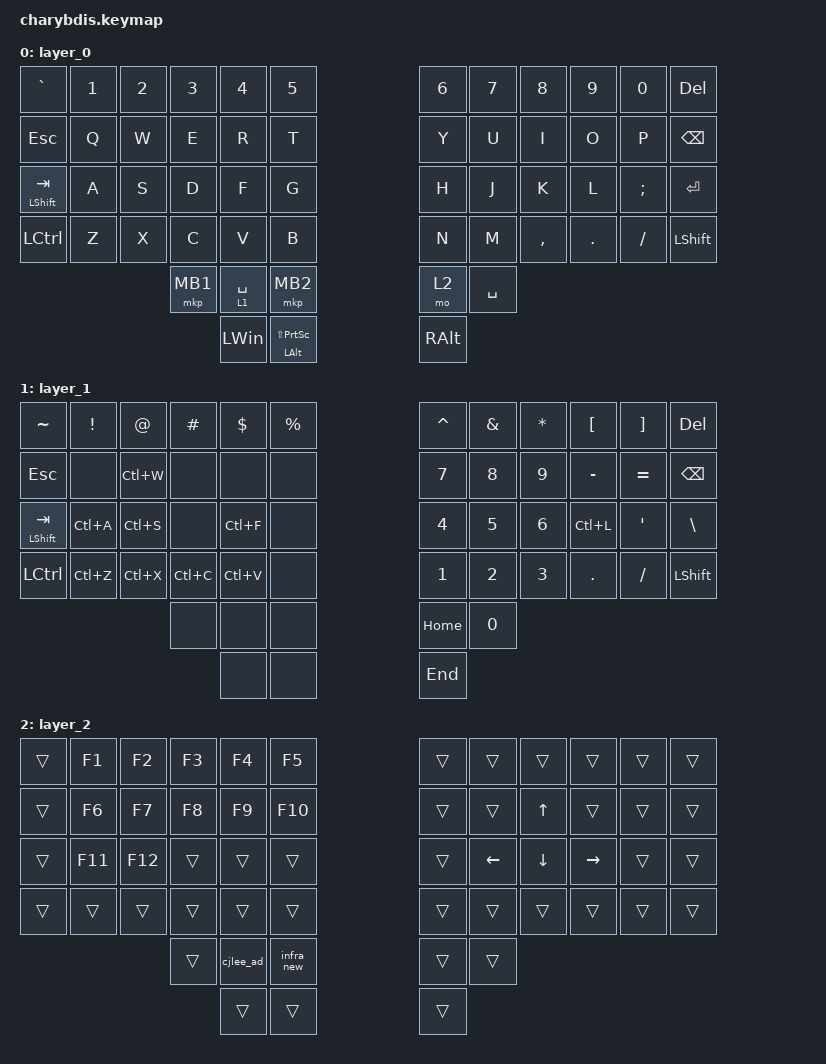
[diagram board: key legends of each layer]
#include <dt-bindings/zmk/mouse.h>
#include <behaviors.dtsi>
#include <dt-bindings/zmk/keys.h>
#include <dt-bindings/zmk/pointing.h>

&lt {
    tapping-term-ms = <200>;
    flavor = "balanced";
    quick-tap-ms = <150>;
};

/ {
    macros {
        infra_new: infra_new {
            compatible = "zmk,behavior-macro";
            #binding-cells = <0>;
            bindings = <&kp C &kp K &kp D &kp W &kp K &kp R &kp LS(R) &kp H &kp X &kp H &kp D &kp N0 &kp N5 &kp POUND &kp RPAR &kp LS(ENTER)>;
            label = "INFRA_NEW";
        };

        cjlee_ad: cjlee_ad {
            compatible = "zmk,behavior-macro";
            #binding-cells = <0>;
            bindings = <&kp Q &kp N &kp F &kp LS(E) &kp K &kp R &kp Q &kp K &kp A &kp N0 &kp N5 &kp POUND &kp RPAR &kp LS(ENTER)>;
            label = "CJLEE_AD";
        };
    };

    keymap {
        compatible = "zmk,keymap";

        layer_0 {
            bindings = <
&kp GRAVE           &kp N1  &kp N2  &kp N3    &kp N4        &kp N5                          &kp N6         &kp N7     &kp N8     &kp N9      &kp N0    &kp DELETE
&kp ESC             &kp Q   &kp W   &kp E     &kp R         &kp T                           &kp Y          &kp U      &kp I      &kp O       &kp P     &kp BACKSPACE
&mt LEFT_SHIFT TAB  &kp A   &kp S   &kp D     &kp F         &kp G                           &kp H          &kp J      &kp K      &kp L       &kp SEMI  &kp ENTER
&kp LCTRL           &kp Z   &kp X   &kp C     &kp V         &kp B                           &kp N          &kp M      &kp COMMA  &kp PERIOD  &kp FSLH  &kp LEFT_SHIFT
                                    &mkp MB1  &lt 1 SPACE   &mkp MB2                        &mo 2          &kp SPACE
                                              &kp LEFT_WIN  &mt LEFT_ALT LS(PRINTSCREEN)    &kp RIGHT_ALT
            >;

            trackball-bindings = <&tmv_coarse>;
        };

        layer_1 {
            bindings = <
&kp TILDE           &kp EXCLAMATION  &kp AT_SIGN  &kp HASH   &kp DOLLAR  &kp PERCENT    &kp CARET  &kp AMPERSAND  &kp ASTERISK  &kp LEFT_BRACKET  &kp RIGHT_BRACKET  &kp DELETE
&kp ESC             &none            &kp LC(W)    &none      &none       &none          &kp N7     &kp N8         &kp N9        &kp MINUS         &kp EQUAL          &kp BACKSPACE
&mt LEFT_SHIFT TAB  &kp LC(A)        &kp LC(S)    &none      &kp LC(F)   &none          &kp N4     &kp N5         &kp N6        &kp LC(L)         &kp SQT            &kp BACKSLASH
&kp LCTRL           &kp LC(Z)        &kp LC(X)    &kp LC(C)  &kp LC(V)   &none          &kp N1     &kp N2         &kp N3        &kp PERIOD        &kp SLASH          &kp LEFT_SHIFT
                                                  &none      &none       &none          &kp HOME   &kp N0
                                                             &none       &none          &kp END
            >;

            trackball-bindings = <&tsl>;
        };

        layer_2 {
            bindings = <
&trans  &kp F1   &kp F2   &kp F3  &kp F4     &kp F5        &trans  &trans    &trans    &trans     &trans  &trans
&trans  &kp F6   &kp F7   &kp F8  &kp F9     &kp F10       &trans  &trans    &kp UP    &trans     &trans  &trans
&trans  &kp F11  &kp F12  &trans  &trans     &trans        &trans  &kp LEFT  &kp DOWN  &kp RIGHT  &trans  &trans
&trans  &trans   &trans   &trans  &trans     &trans        &trans  &trans    &trans    &trans     &trans  &trans
                          &trans  &cjlee_ad  &infra_new    &trans  &trans
                                  &trans     &trans        &trans
            >;
        };

        /* layer_2 {
            bindings = <
&none  &none   &none    &none   &none         &none         &kp N1         &none         &none     &none  &none   &to 0
&none  &none   &none    &none   &none         &none         &none         &none          &rgb_ug RGB_BRD &rgb_ug RGB_BRI  &rgb_ug RGB_EFF   &rgb_ug RGB_TOG
&none  &none   &none    &none   &none         &none         &none         &mkp LCLK     &mkp RCLK  &none  &none   &none
&none  &none   &none    &none   &bt BT_NXT  &bt BT_CLR    &none         &none         &none     &none  &none   &none
                                   &none         &none         &none         &none         &none
                                                 &none         &none         &none
            >;
          trackball-bindings = <&tsl>;
            
        };

       Mouse {
            bindings = <
&none        &none         &none         &none         &none      &none         &none       &none      &none         &none         &none         &none
&none        &bt BT_SEL 0  &bt BT_SEL 1  &bt BT_SEL 3  &none      &bt BT_CLR    &bt BT_CLR  &none      &bt BT_SEL 2  &bt BT_SEL 1  &bt BT_SEL 0  &none
&none        &trans        &trans        &mkp MCLK     &trans     &none         &none       &trans     &mkp MCLK     &trans        &trans        &none
&bootloader  &trans        &mkp RCLK     &mo 4         &mkp LCLK  &mo 5         &mo 5       &mkp LCLK  &mo 4         &mkp RCLK     &trans        &bootloader
                                         &mo 5         &mkp LCLK  &mkp RCLK     &mkp RCLK   &mkp LCLK
                                                       &none      &trans        &trans
            >;

            
        };

        layer_4 {
            bindings = <
&trans  &trans  &trans     &trans     &trans     &trans       &trans     &trans     &trans     &trans     &trans  &trans
&trans  &trans  &trans     &trans     &trans     &trans       &trans     &trans     &trans     &trans     &trans  &trans
&trans  &trans  &trans     &mkp MCLK  &trans     &trans       &trans     &trans     &mkp MCLK  &trans     &trans  &trans
&trans  &trans  &mkp RCLK  &trans     &mkp LCLK  &trans       &trans     &mkp LCLK  &trans     &mkp RCLK  &trans  &trans
                           &trans     &mkp LCLK  &mkp RCLK    &mkp RCLK  &mkp LCLK
                                      &trans     &trans       &trans
            >;
                
                
                trackball-bindings = <&tsl>;
        };

        layer_5 {
            bindings = <
&trans  &trans  &trans     &trans     &trans     &trans       &trans     &trans     &trans     &trans     &trans  &trans
&trans  &trans  &trans     &trans     &trans     &trans       &trans     &trans     &trans     &trans     &trans  &trans
&trans  &trans  &trans     &mkp MCLK  &trans     &trans       &trans     &trans     &mkp MCLK  &trans     &trans  &trans
&trans  &trans  &mkp RCLK  &trans     &mkp LCLK  &trans       &trans     &mkp LCLK  &trans     &mkp RCLK  &trans  &trans
                           &trans     &mkp LCLK  &mkp RCLK    &mkp RCLK  &mkp LCLK
                                      &trans     &trans       &trans
            >;
                trackball-bindings = <&tmv_fine>;
                
        };*/
    };
};
